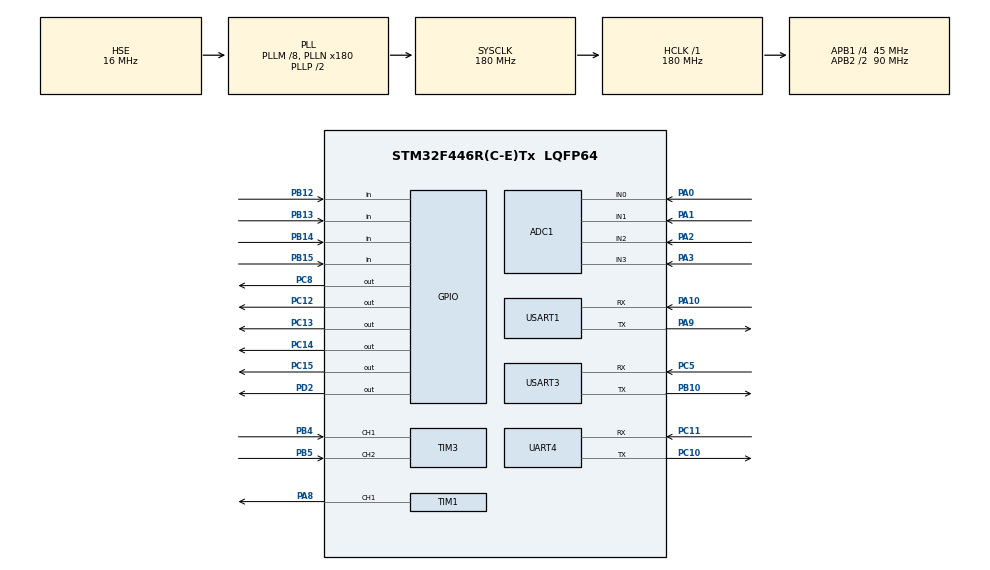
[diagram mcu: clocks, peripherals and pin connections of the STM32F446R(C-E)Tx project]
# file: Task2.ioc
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ADC1.Channel-0\#ChannelRegularConversion=ADC_CHANNEL_0
ADC1.Channel-1\#ChannelRegularConversion=ADC_CHANNEL_1
ADC1.Channel-2\#ChannelRegularConversion=ADC_CHANNEL_2
ADC1.Channel-3\#ChannelRegularConversion=ADC_CHANNEL_3
ADC1.DMAContinuousRequests=ENABLE
ADC1.NbrOfConversion=4
ADC1.NbrOfConversionFlag=1
ADC1.Rank-0\#ChannelRegularConversion=1
ADC1.Rank-1\#ChannelRegularConversion=2
ADC1.Rank-2\#ChannelRegularConversion=3
ADC1.Rank-3\#ChannelRegularConversion=4
ADC1.SamplingTime-0\#ChannelRegularConversion=ADC_SAMPLETIME_15CYCLES
ADC1.SamplingTime-1\#ChannelRegularConversion=ADC_SAMPLETIME_15CYCLES
ADC1.SamplingTime-2\#ChannelRegularConversion=ADC_SAMPLETIME_15CYCLES
ADC1.SamplingTime-3\#ChannelRegularConversion=ADC_SAMPLETIME_15CYCLES
ADC1.ScanConvMode=ENABLE
ADC1.master=1
Dma.ADC1.0.Direction=DMA_PERIPH_TO_MEMORY
Dma.ADC1.0.FIFOMode=DMA_FIFOMODE_DISABLE
Dma.ADC1.0.Instance=DMA2_Stream0
Dma.ADC1.0.MemDataAlignment=DMA_MDATAALIGN_WORD
Dma.ADC1.0.MemInc=DMA_MINC_ENABLE
Dma.ADC1.0.Mode=DMA_CIRCULAR
Dma.ADC1.0.PeriphDataAlignment=DMA_PDATAALIGN_WORD
Dma.ADC1.0.PeriphInc=DMA_PINC_DISABLE
Dma.ADC1.0.Priority=DMA_PRIORITY_LOW
Dma.Request0=ADC1
Dma.Request1=USART1_RX
Dma.Request2=USART3_RX
Dma.Request3=UART4_RX
Dma.UART4_RX.3.Direction=DMA_PERIPH_TO_MEMORY
Dma.UART4_RX.3.FIFOMode=DMA_FIFOMODE_DISABLE
Dma.UART4_RX.3.Instance=DMA1_Stream2
Dma.UART4_RX.3.MemDataAlignment=DMA_MDATAALIGN_BYTE
Dma.UART4_RX.3.MemInc=DMA_MINC_ENABLE
Dma.UART4_RX.3.Mode=DMA_CIRCULAR
Dma.UART4_RX.3.PeriphDataAlignment=DMA_PDATAALIGN_BYTE
Dma.UART4_RX.3.PeriphInc=DMA_PINC_DISABLE
Dma.UART4_RX.3.Priority=DMA_PRIORITY_LOW
Dma.USART1_RX.1.Direction=DMA_PERIPH_TO_MEMORY
Dma.USART1_RX.1.FIFOMode=DMA_FIFOMODE_DISABLE
Dma.USART1_RX.1.Instance=DMA2_Stream2
Dma.USART1_RX.1.MemDataAlignment=DMA_MDATAALIGN_BYTE
Dma.USART1_RX.1.MemInc=DMA_MINC_ENABLE
Dma.USART1_RX.1.Mode=DMA_CIRCULAR
Dma.USART1_RX.1.PeriphDataAlignment=DMA_PDATAALIGN_BYTE
Dma.USART1_RX.1.PeriphInc=DMA_PINC_DISABLE
Dma.USART1_RX.1.Priority=DMA_PRIORITY_LOW
Dma.USART3_RX.2.Direction=DMA_PERIPH_TO_MEMORY
Dma.USART3_RX.2.FIFOMode=DMA_FIFOMODE_DISABLE
Dma.USART3_RX.2.Instance=DMA1_Stream1
Dma.USART3_RX.2.MemDataAlignment=DMA_MDATAALIGN_BYTE
Dma.USART3_RX.2.MemInc=DMA_MINC_ENABLE
Dma.USART3_RX.2.Mode=DMA_CIRCULAR
Dma.USART3_RX.2.PeriphDataAlignment=DMA_PDATAALIGN_BYTE
Dma.USART3_RX.2.PeriphInc=DMA_PINC_DISABLE
Dma.USART3_RX.2.Priority=DMA_PRIORITY_LOW
Mcu.Family=STM32F4
Mcu.Name=STM32F446R(C-E)Tx
Mcu.Package=LQFP64
NVIC.ADC_IRQn=true\:0\:0\:false\:false\:true\:true\:true\:true
NVIC.DMA1_Stream1_IRQn=true\:0\:0\:false\:false\:true\:false\:true\:true
NVIC.DMA1_Stream2_IRQn=true\:0\:0\:false\:false\:true\:false\:true\:true
NVIC.DMA2_Stream0_IRQn=true\:0\:0\:false\:false\:true\:false\:true\:true
NVIC.DMA2_Stream2_IRQn=true\:0\:0\:false\:false\:true\:false\:true\:true
NVIC.PriorityGroup=NVIC_PRIORITYGROUP_4
NVIC.TIM1_BRK_TIM9_IRQn=true\:0\:0\:false\:false\:true\:true\:true\:true
NVIC.TIM1_CC_IRQn=true\:0\:0\:false\:false\:true\:true\:true\:true
NVIC.TIM1_TRG_COM_TIM11_IRQn=true\:0\:0\:false\:false\:true\:true\:true\:true
NVIC.TIM1_UP_TIM10_IRQn=true\:0\:0\:false\:false\:true\:true\:true\:true
NVIC.TIM6_DAC_IRQn=true\:0\:0\:false\:false\:true\:true\:true\:true
NVIC.TIM8_UP_TIM13_IRQn=true\:0\:0\:false\:false\:true\:true\:true\:true
NVIC.UART4_IRQn=true\:0\:0\:false\:false\:true\:true\:true\:true
NVIC.USART1_IRQn=true\:0\:0\:false\:false\:true\:true\:true\:true
NVIC.USART3_IRQn=true\:0\:0\:false\:false\:true\:true\:true\:true
PA0-WKUP.Signal=ADCx_IN0
PA1.Signal=ADCx_IN1
PA10.Mode=Asynchronous
PA10.Signal=USART1_RX
PA13.Mode=Serial_Wire
PA13.Signal=SYS_JTMS-SWDIO
PA14.Mode=Serial_Wire
PA14.Signal=SYS_JTCK-SWCLK
PA2.Signal=ADCx_IN2
PA3.Signal=ADCx_IN3
PA8.Signal=S_TIM1_CH1
PA9.Mode=Asynchronous
PA9.Signal=USART1_TX
PB10.Mode=Asynchronous
PB10.Signal=USART3_TX
PB12.Signal=GPIO_Input
PB13.Signal=GPIO_Input
PB14.Signal=GPIO_Input
PB15.Signal=GPIO_Input
PB4.GPIO_PuPd=GPIO_PULLUP
PB4.Signal=S_TIM3_CH1
PB5.GPIO_PuPd=GPIO_PULLUP
PB5.Signal=S_TIM3_CH2
PC10.Mode=Asynchronous
PC10.Signal=UART4_TX
PC11.Mode=Asynchronous
PC11.Signal=UART4_RX
PC12.Signal=GPIO_Output
PC13.Signal=GPIO_Output
PC14-OSC32_IN.Signal=GPIO_Output
PC15-OSC32_OUT.Signal=GPIO_Output
PC5.Mode=Asynchronous
PC5.Signal=USART3_RX
PC8.Signal=GPIO_Output
PD2.Signal=GPIO_Output
PH0-OSC_IN.Mode=HSE-External-Oscillator
PH0-OSC_IN.Signal=RCC_OSC_IN
PH1-OSC_OUT.Mode=HSE-External-Oscillator
PH1-OSC_OUT.Signal=RCC_OSC_OUT
ProjectManager.HeapSize=0x200
ProjectManager.StackSize=0x400
ProjectManager.TargetToolchain=STM32CubeIDE
RCC.AHBFreq_Value=180000000
RCC.APB1CLKDivider=RCC_HCLK_DIV4
RCC.APB1Freq_Value=45000000
RCC.APB1TimFreq_Value=90000000
RCC.APB2CLKDivider=RCC_HCLK_DIV2
RCC.APB2Freq_Value=90000000
RCC.APB2TimFreq_Value=180000000
RCC.CortexFreq_Value=180000000
RCC.HCLKFreq_Value=180000000
RCC.HSE_VALUE=16000000
RCC.PLLM=8
RCC.PLLN=180
RCC.PLLSourceVirtual=RCC_PLLSOURCE_HSE
RCC.SYSCLKFreq_VALUE=180000000
RCC.SYSCLKSource=RCC_SYSCLKSOURCE_PLLCLK
RCC.USBFreq_Value=180000000
RCC.VCOOutputFreq_Value=360000000
SH.ADCx_IN0.0=ADC1_IN0,IN0
SH.ADCx_IN1.0=ADC1_IN1,IN1
SH.ADCx_IN2.0=ADC1_IN2,IN2
SH.ADCx_IN3.0=ADC1_IN3,IN3
SH.S_TIM1_CH1.0=TIM1_CH1,PWM Generation1 CH1
SH.S_TIM3_CH1.0=TIM3_CH1,Encoder_Interface
SH.S_TIM3_CH2.0=TIM3_CH2,Encoder_Interface
TIM1.Channel-PWM\ Generation1\ CH1=TIM_CHANNEL_1
TIM1.Period=1000-1
TIM1.Prescaler=9-1
TIM3.EncoderMode=TIM_ENCODERMODE_TI12
TIM3.IC1Filter=5
TIM3.IC2Filter=5
TIM6.Period=100-1
TIM6.Prescaler=90-1
TIM8.Period=10000-1
TIM8.Prescaler=180-1
TIM8.TIM_MasterOutputTrigger=TIM_TRGO_UPDATE
UART4.VirtualMode=Asynchronous
USART1.VirtualMode=VM_ASYNC
USART3.VirtualMode=VM_ASYNC
VP_TIM6_VS_ClockSourceINT.Mode=Enable_Timer
VP_TIM8_VS_ClockSourceINT.Mode=Internal
board=custom

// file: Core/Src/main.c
/* USER CODE BEGIN Header */
/**
  ******************************************************************************
  * @file           : main.c
  * @brief          : Main program body
  ******************************************************************************
  * @attention
  *
  * Copyright (c) 2024 STMicroelectronics.
  * All rights reserved.
  *
  * This software is licensed under terms that can be found in the LICENSE file
  * in the root directory of this software component.
  * If no LICENSE file comes with this software, it is provided AS-IS.
  *
  ******************************************************************************
  */
/* USER CODE END Header */
#include "main.h"
#include "adc.h"
#include "dma.h"
#include "tim.h"
#include "usart.h"
#include "gpio.h"

/* USER CODE BEGIN PV */
float motorSpeed = 0;
float resultMotorSpeed = 0;
int32_t encoder_value = 0;
int32_t cntRising = 0;
int32_t cntFalling = 0;
/* USER CODE END PV */

void SystemClock_Config(void);

int main(void)
{

  /* MCU Configuration--------------------------------------------------------*/

  /* Reset of all peripherals, Initializes the Flash interface and the Systick. */
  HAL_Init();

  /* Configure the system clock */
  SystemClock_Config();

  /* Initialize all configured peripherals */
  MX_GPIO_Init();
  MX_DMA_Init();
  MX_ADC1_Init();
  MX_TIM8_Init();
  MX_TIM6_Init();
  MX_USART1_UART_Init();
  MX_USART3_UART_Init();
  MX_UART4_Init();
  MX_TIM1_Init();
  MX_TIM3_Init();
  /* USER CODE BEGIN 2 */

  HAL_TIM_PWM_Start(&htim1, TIM_CHANNEL_1);
  HAL_TIMEx_PWMN_Start(&htim1, TIM_CHANNEL_1);
  HAL_TIM_Encoder_Start(&htim3, TIM_CHANNEL_ALL);

  /* USER CODE END 2 */

  /* Infinite loop */
  while (1)
  {

    /* USER CODE BEGIN 3 */
	HAL_GPIO_WritePin(GPIOC, GPIO_PIN_12, 1);
	HAL_GPIO_WritePin(GPIOC, GPIO_PIN_13, 1);
	HAL_GPIO_WritePin(GPIOC, GPIO_PIN_14, 1);
	HAL_GPIO_WritePin(GPIOC, GPIO_PIN_15, 1);

	/* Task2-1 Motor Control (CW/CCW) */
	if(motorSpeed > 0){
		HAL_GPIO_WritePin(GPIOC, GPIO_PIN_8, 0);
		resultMotorSpeed = motorSpeed * 1000;
		cntRising++;
	}else if(motorSpeed < 0){
		HAL_GPIO_WritePin(GPIOC, GPIO_PIN_8, 1);
		resultMotorSpeed = motorSpeed * (-1000);
		cntFalling++;
	}else if(motorSpeed == 0){
		HAL_GPIO_WritePin(GPIOC, GPIO_PIN_8, 1);
		resultMotorSpeed = 0;
	}

	TIM1->CCR1 = resultMotorSpeed;

//	encoder_value = (int16_t)TIM3->CNT;
	encoder_value = TIM3->CNT;
	HAL_Delay(1); /* Debugging: Checking for the encoder_value */
  }
  /* USER CODE END 3 */
}

void SystemClock_Config(void)
{
  RCC_OscInitTypeDef RCC_OscInitStruct = {0};
  RCC_ClkInitTypeDef RCC_ClkInitStruct = {0};

  /** Configure the main internal regulator output voltage
  */
  __HAL_RCC_PWR_CLK_ENABLE();
  __HAL_PWR_VOLTAGESCALING_CONFIG(PWR_REGULATOR_VOLTAGE_SCALE1);

  /** Initializes the RCC Oscillators according to the specified parameters
  * in the RCC_OscInitTypeDef structure.
  */
  RCC_OscInitStruct.OscillatorType = RCC_OSCILLATORTYPE_HSE;
  RCC_OscInitStruct.HSEState = RCC_HSE_ON;
  RCC_OscInitStruct.PLL.PLLState = RCC_PLL_ON;
  RCC_OscInitStruct.PLL.PLLSource = RCC_PLLSOURCE_HSE;
  RCC_OscInitStruct.PLL.PLLM = 8;
  RCC_OscInitStruct.PLL.PLLN = 180;
  RCC_OscInitStruct.PLL.PLLP = RCC_PLLP_DIV2;
  RCC_OscInitStruct.PLL.PLLQ = 2;
  RCC_OscInitStruct.PLL.PLLR = 2;
  if (HAL_RCC_OscConfig(&RCC_OscInitStruct) != HAL_OK)
  {
    Error_Handler();
  }

  /** Activate the Over-Drive mode
  */
  if (HAL_PWREx_EnableOverDrive() != HAL_OK)
  {
    Error_Handler();
  }

  /** Initializes the CPU, AHB and APB buses clocks
  */
  RCC_ClkInitStruct.ClockType = RCC_CLOCKTYPE_HCLK|RCC_CLOCKTYPE_SYSCLK
                              |RCC_CLOCKTYPE_PCLK1|RCC_CLOCKTYPE_PCLK2;
  RCC_ClkInitStruct.SYSCLKSource = RCC_SYSCLKSOURCE_PLLCLK;
  RCC_ClkInitStruct.AHBCLKDivider = RCC_SYSCLK_DIV1;
  RCC_ClkInitStruct.APB1CLKDivider = RCC_HCLK_DIV4;
  RCC_ClkInitStruct.APB2CLKDivider = RCC_HCLK_DIV2;

  if (HAL_RCC_ClockConfig(&RCC_ClkInitStruct, FLASH_LATENCY_5) != HAL_OK)
  {
    Error_Handler();
  }
}

void Error_Handler(void)
{
  __disable_irq();
  while (1)
  {
  }
}
